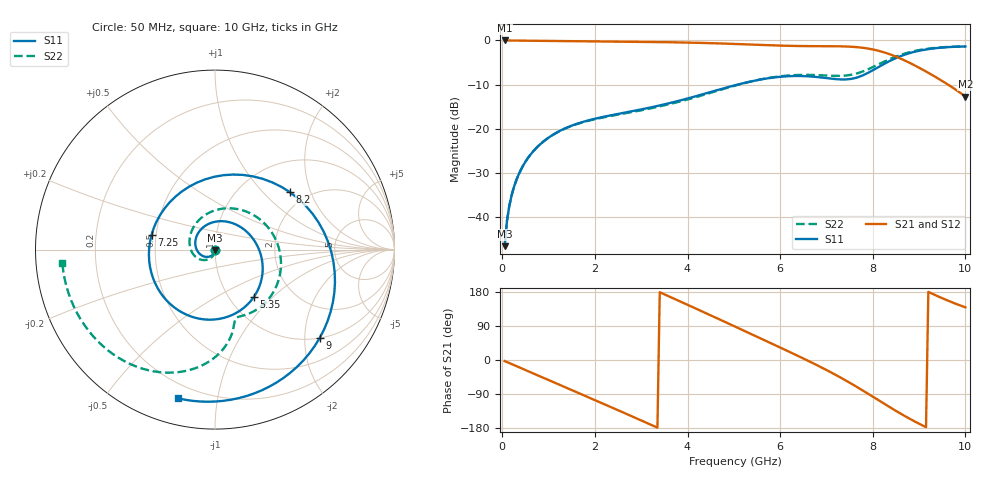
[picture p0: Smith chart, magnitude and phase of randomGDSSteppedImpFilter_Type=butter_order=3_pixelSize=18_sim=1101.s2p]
! freq	dB(S11)	phase(S11)	dB(S12)	phase(S12)
!  dB(S21)	phase(S21)	dB(S22)	phase(S22)
!S-par simulation data
#  GHz  S  DB  R 50
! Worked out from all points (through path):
!   200 points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, 50 MHz to 10 GHz, reference 50 ohm
!   highest |S21| = -0.01 dB at 50 MHz (marker M1); lowest = -12.7 dB at 10 GHz (marker M2)
!   group delay of S21, straight-line fit = 163 ps
!   lowest |S11| = -46.6 dB at 50 MHz (marker M3), VSWR 1.01, Z = 50 - j0.469 ohm
!   |S11| at or under -10 dB: start of sweep to 5.081 GHz
!   |S22| runs from -46.6 to -1.4 dB; largest |S21 - S12| = 0
!   S11 on the Smith chart (normalised r, x): 50 MHz: 1.00, -0.01; 5.35 GHz: 1.29, -0.77; 7.25 GHz: 0.47, +0.09; 8.2 GHz: 1.64, +1.45; 9 GHz: 1.00, -2.36; 10 GHz: 0.13, -0.78
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0.05  -46.58 -88.2  -0.01 -2.7  -0.01 -2.7  -46.56 -87.3
0.1  -40.93 -93.5  -0.01 -5.4  -0.01 -5.4  -40.91 -91.5
0.2  -35.13 -101.9  -0.02 -10.7  -0.02 -10.7  -35.11 -97.7
0.5  -27.46 -122.4  -0.04 -26.5  -0.04 -26.5  -27.45 -111.7
1.15  -21.00 -164.9  -0.11 -60.9  -0.11 -60.9  -21.03 -139.1
1.75  -18.42 155.2  -0.17 -92.6  -0.17 -92.6  -18.49 -163.0
2.65  -16.33 94.6  -0.27 -140.6  -0.27 -140.6  -16.50 161.5
3.4  -14.71 48.2  -0.37 178.8  -0.37 178.8  -14.93 126.9
3.85  -13.56 23.7  -0.45 154.0  -0.45 154.0  -13.79 102.1
4.3  -12.27 1.1  -0.56 129.0  -0.56 129.0  -12.47 75.1
5.05  -10.08 -35.5  -0.81 86.9  -0.81 86.9  -10.15 28.5
5.35  -9.33 -50.9  -0.92 69.9  -0.92 69.9  -9.35 10.5
6.05  -8.19 -90.9  -1.18 30.1  -1.18 30.1  -8.06 -27.8
6.7  -8.19 -137.3  -1.30 -7.8  -1.30 -7.8  -7.81 -56.3
7.25  -8.80 167.0  -1.32 -42.6  -1.32 -42.6  -8.03 -70.9
7.8  -7.84 90.7  -1.68 -81.7  -1.68 -81.7  -6.96 -76.7
8.2  -5.57 37.3  -2.56 -112.0  -2.56 -112.0  -5.02 -85.8
8.35  -4.74 20.0  -3.06 -123.3  -3.06 -123.3  -4.30 -91.2
8.65  -3.37 -10.6  -4.34 -145.0  -4.34 -145.0  -3.10 -104.3
9  -2.34 -40.3  -6.17 -168.2  -6.17 -168.2  -2.19 -121.5
9.5  -1.61 -74.8  -9.18 163.1  -9.18 163.1  -1.55 -147.2
10  -1.37 -103.8  -12.71 139.0  -12.71 139.0  -1.37 -174.9
